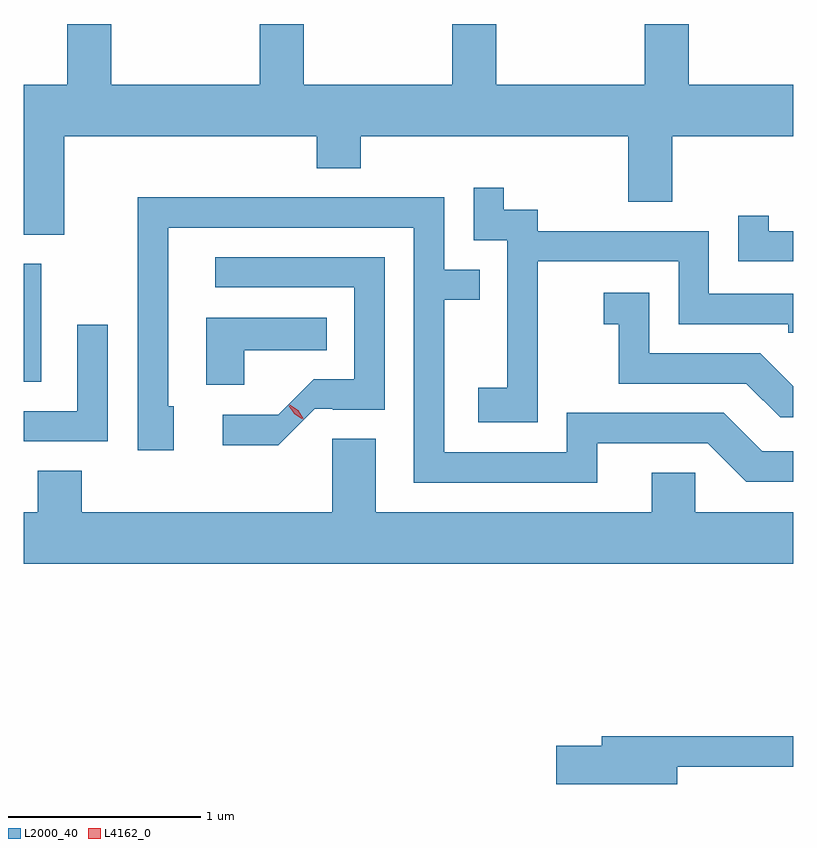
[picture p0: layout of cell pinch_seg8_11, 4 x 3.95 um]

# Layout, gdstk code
import gdstk
lib = gdstk.Library(unit=1e-6, precision=1e-09)
def R(c, l, rs):  # rectangles x0, y0, x1, y1
    for r in rs: c.add(gdstk.rectangle(r[:2], r[2:], *l))
def P(c, l, *ps):  # polygons
    for p in ps: c.add(gdstk.Polygon(p, *l))
L2000_40 = (2000, 40)
L4162_0 = (4162, 0)

pinch_seg8_11 = lib.new_cell('pinch_seg8_11')
R(pinch_seg8_11, L2000_40, [(1075.338,1890.641,1075.429,1891.254)])
P(pinch_seg8_11, L2000_40, [(1075.549,1891.916),(1076.861,1891.916),(1076.861,1891.751),(1077.089,1891.751),(1077.089,1891.916),(1078.481,1891.916),(1078.481,1891.576),(1078.709,1891.576),(1078.709,1891.916),(1079.338,1891.916),(1079.338,1892.184),(1078.794,1892.184),(1078.794,1892.5),(1078.566,1892.5),(1078.566,1892.184),(1077.794,1892.184),(1077.794,1892.5),(1077.566,1892.5),(1077.566,1892.184),(1076.794,1892.184),(1076.794,1892.5),(1076.566,1892.5),(1076.566,1892.184),(1075.794,1892.184),(1075.794,1892.5),(1075.566,1892.5),(1075.566,1892.184),(1075.338,1892.184),(1075.338,1891.406),(1075.549,1891.406)],
  [(1078.009,1891.266),(1078.741,1891.266),(1078.741,1890.941),(1079.311,1890.941),(1079.311,1890.896),(1079.338,1890.896),(1079.338,1891.099),(1078.899,1891.099),(1078.899,1891.424),(1078.009,1891.424),(1078.009,1891.534),(1077.834,1891.534),(1077.834,1891.648),(1077.676,1891.648),(1077.676,1891.376),(1077.851,1891.376),(1077.851,1890.609),(1077.701,1890.609),(1077.701,1890.431),(1078.009,1890.431)],
  [(1078.319,1890.321),(1078.894,1890.321),(1079.094,1890.121),(1079.338,1890.121),(1079.338,1890.279),(1079.177,1890.279),(1078.977,1890.479),(1078.161,1890.479),(1078.161,1890.274),(1077.524,1890.274),(1077.524,1891.066),(1077.708,1891.066),(1077.708,1891.224),(1077.524,1891.224),(1077.524,1891.599),(1075.931,1891.599),(1075.931,1890.286),(1076.119,1890.286),(1076.119,1890.514),(1076.089,1890.514),(1076.089,1891.441),(1077.366,1891.441),(1077.366,1890.116),(1078.319,1890.116)],
  [(1079.338,1891.424),(1079.209,1891.424),(1079.209,1891.503),(1079.051,1891.503),(1079.051,1891.266),(1079.338,1891.266)],
  [(1076.851,1890.5),(1076.945,1890.5),(1076.945,1890.496),(1077.214,1890.496),(1077.214,1891.289),(1076.333,1891.289),(1076.333,1891.131),(1077.056,1891.131),(1077.056,1890.654),(1076.846,1890.654),(1076.662,1890.47),(1076.373,1890.47),(1076.373,1890.311),(1076.662,1890.311)],
  [(1079.338,1890.618),(1079.167,1890.789),(1078.589,1890.789),(1078.589,1891.104),(1078.353,1891.104),(1078.353,1890.941),(1078.431,1890.941),(1078.431,1890.631),(1079.094,1890.631),(1079.269,1890.456),(1079.338,1890.456)],
  [(1076.484,1890.806),(1076.913,1890.806),(1076.913,1890.974),(1076.286,1890.974),(1076.286,1890.626),(1076.484,1890.626)],
  [(1075.774,1890.938),(1075.616,1890.938),(1075.616,1890.489),(1075.338,1890.489),(1075.338,1890.331),(1075.774,1890.331)],
  [(1079.338,1889.964),(1078.829,1889.964),(1078.829,1890.169),(1078.601,1890.169),(1078.601,1889.964),(1077.169,1889.964),(1077.169,1890.344),(1076.941,1890.344),(1076.941,1889.964),(1075.639,1889.964),(1075.639,1890.179),(1075.411,1890.179),(1075.411,1889.964),(1075.338,1889.964),(1075.338,1889.696),(1079.338,1889.696)],
  [(1078.734,1888.641),(1079.338,1888.641),(1079.338,1888.799),(1078.341,1888.799),(1078.341,1888.749),(1078.106,1888.749),(1078.106,1888.551),(1078.734,1888.551)])
P(pinch_seg8_11, L4162_0, [(1076.794,1890.446),(1076.749,1890.479),(1076.718,1890.524),(1076.718,1890.525),(1076.719,1890.525),(1076.764,1890.492),(1076.794,1890.447),(1076.794,1890.446)],
  [(1076.786,1890.445),(1076.744,1890.474),(1076.716,1890.516),(1076.716,1890.517),(1076.717,1890.517),(1076.759,1890.488),(1076.786,1890.445),(1076.786,1890.445)])

lib.write_gds('pinch_seg8_11.gds')
